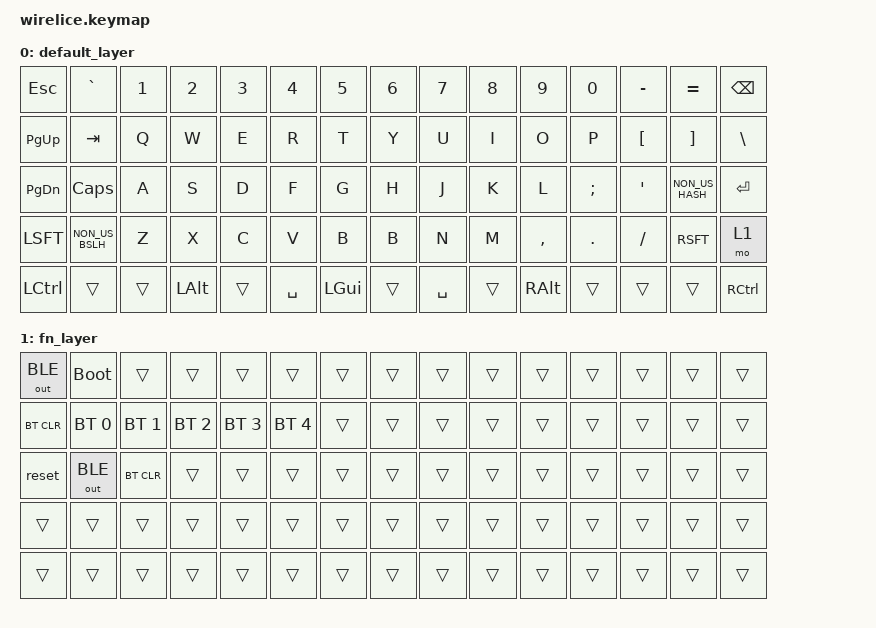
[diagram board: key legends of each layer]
#include <behaviors.dtsi>
#include <dt-bindings/zmk/keys.h>
#include <dt-bindings/zmk/bt.h>
#include <dt-bindings/zmk/outputs.h>
#include <dt-bindings/zmk/ext_power.h>

/ {
	keymap {
		compatible = "zmk,keymap";
		
		default_layer {
			bindings = <          
	&kp ESC          &kp GRAVE        &kp NUM_1        &kp NUM_2     &kp NUM_3     &kp NUM_4     &kp NUM_5        &kp NUM_6        &kp NUM_7        &kp NUM_8        &kp NUM_9        &kp NUM_0        &kp MINUS        &kp EQL            &kp BSPC         
	&kp PG_UP        &kp TAB          &kp Q            &kp W         &kp E         &kp R         &kp T            &kp Y            &kp U            &kp I            &kp O            &kp P            &kp LBKT         &kp RBKT           &kp BSLH   
	&kp PG_DN        &kp CAPS         &kp A            &kp S         &kp D         &kp F         &kp G            &kp H            &kp J            &kp K            &kp L            &kp SCLN         &kp QUOT         &kp NON_US_HASH    &kp ENTER   
	&kp LSFT         &kp NON_US_BSLH  &kp Z            &kp X         &kp C         &kp V         &kp B            &kp B            &kp N            &kp M            &kp CMMA         &kp  DOT         &kp FSLH         &kp RSFT           &mo 1       
    &kp LCTRL        &trans           &trans           &kp LALT      &trans        &kp SPACE     &kp LGUI         &trans           &kp SPACE        &trans           &kp RALT         &trans           &trans           &trans             &kp RCTRL         
			>;	
		};

		fn_layer {
			bindings = <
	&out OUT_BLE     &bootloader      &trans           &trans        &trans        &trans        &trans           &trans           &trans           &trans           &trans           &trans           &trans           &trans            &trans        
	&bt BT_CLR       &bt BT_SEL 0     &bt BT_SEL 1     &bt BT_SEL 2  &bt BT_SEL 3  &bt BT_SEL 4  &trans           &trans           &trans           &trans           &trans           &trans           &trans           &trans            &trans         
	&reset           &out OUT_BLE     &bt BT_CLR       &trans        &trans        &trans        &trans           &trans           &trans           &trans           &trans           &trans           &trans           &trans            &trans          
	&trans           &trans           &trans           &trans        &trans        &trans        &trans           &trans           &trans           &trans           &trans           &trans           &trans           &trans            &trans       
	&trans           &trans           &trans           &trans        &trans        &trans        &trans           &trans           &trans           &trans           &trans           &trans           &trans           &trans            &trans         
			>;
		};
	};
};
 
